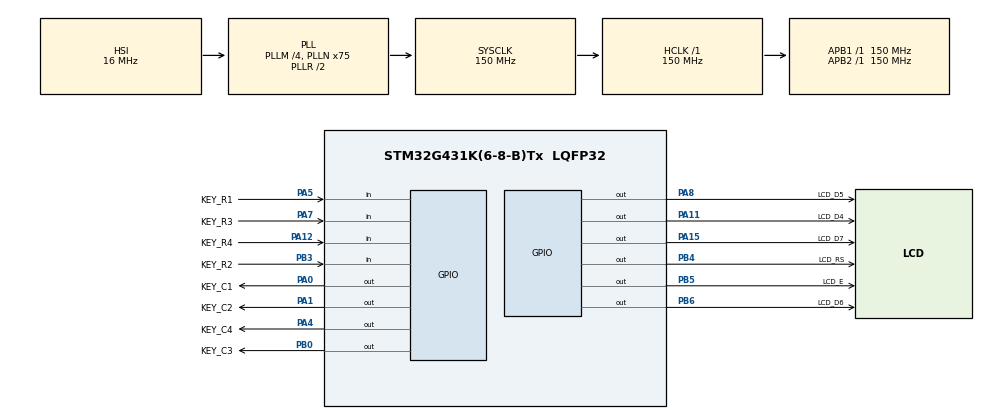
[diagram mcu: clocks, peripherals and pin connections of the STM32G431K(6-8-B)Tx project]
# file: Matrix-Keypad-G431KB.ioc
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Mcu.Family=STM32G4
Mcu.Name=STM32G431K(6-8-B)Tx
Mcu.Package=LQFP32
NVIC.PriorityGroup=NVIC_PRIORITYGROUP_4
NVIC.TIM2_IRQn=true\:0\:0\:false\:false\:true\:true\:true\:true
PA0.GPIO_Label=KEY_C1
PA0.GPIO_ModeDefaultOutputPP=GPIO_MODE_OUTPUT_OD
PA0.GPIO_PuPd=GPIO_NOPULL
PA0.GPIO_Speed=GPIO_SPEED_FREQ_VERY_HIGH
PA0.PinState=GPIO_PIN_SET
PA0.Signal=GPIO_Output
PA1.GPIO_Label=KEY_C2
PA1.GPIO_ModeDefaultOutputPP=GPIO_MODE_OUTPUT_OD
PA1.GPIO_PuPd=GPIO_NOPULL
PA1.GPIO_Speed=GPIO_SPEED_FREQ_VERY_HIGH
PA1.PinState=GPIO_PIN_SET
PA1.Signal=GPIO_Output
PA11.GPIO_Label=LCD_D4
PA11.GPIO_Speed=GPIO_SPEED_FREQ_VERY_HIGH
PA11.Signal=GPIO_Output
PA12.GPIO_Label=KEY_R4
PA12.GPIO_PuPd=GPIO_PULLUP
PA12.Signal=GPIO_Input
PA13.Mode=Serial_Wire
PA13.Signal=SYS_JTMS-SWDIO
PA14.Mode=Serial_Wire
PA14.Signal=SYS_JTCK-SWCLK
PA15.GPIO_Label=LCD_D7
PA15.GPIO_Speed=GPIO_SPEED_FREQ_VERY_HIGH
PA15.Signal=GPIO_Output
PA4.GPIO_Label=KEY_C4
PA4.GPIO_ModeDefaultOutputPP=GPIO_MODE_OUTPUT_OD
PA4.GPIO_PuPd=GPIO_NOPULL
PA4.GPIO_Speed=GPIO_SPEED_FREQ_VERY_HIGH
PA4.PinState=GPIO_PIN_SET
PA4.Signal=GPIO_Output
PA5.GPIO_Label=KEY_R1
PA5.GPIO_Mode=GPIO_MODE_INPUT
PA5.GPIO_PuPd=GPIO_PULLUP
PA5.Signal=GPIO_Input
PA7.GPIO_Label=KEY_R3
PA7.GPIO_Mode=GPIO_MODE_INPUT
PA7.GPIO_PuPd=GPIO_PULLUP
PA7.Signal=GPIO_Input
PA8.GPIO_Label=LCD_D5
PA8.GPIO_Speed=GPIO_SPEED_FREQ_VERY_HIGH
PA8.Signal=GPIO_Output
PB0.GPIO_Label=KEY_C3
PB0.GPIO_ModeDefaultOutputPP=GPIO_MODE_OUTPUT_OD
PB0.GPIO_PuPd=GPIO_NOPULL
PB0.GPIO_Speed=GPIO_SPEED_FREQ_VERY_HIGH
PB0.PinState=GPIO_PIN_SET
PB0.Signal=GPIO_Output
PB3.GPIO_Label=KEY_R2
PB3.GPIO_PuPd=GPIO_PULLUP
PB3.Signal=GPIO_Input
PB4.GPIO_Label=LCD_RS
PB4.GPIO_Speed=GPIO_SPEED_FREQ_VERY_HIGH
PB4.Signal=GPIO_Output
PB5.GPIO_Label=LCD_E
PB5.GPIO_Speed=GPIO_SPEED_FREQ_VERY_HIGH
PB5.Signal=GPIO_Output
PB6.GPIO_Label=LCD_D6
PB6.GPIO_Speed=GPIO_SPEED_FREQ_VERY_HIGH
PB6.Signal=GPIO_Output
ProjectManager.HeapSize=0x200
ProjectManager.StackSize=0x400
ProjectManager.TargetToolchain=STM32CubeIDE
RCC.ADC12Freq_Value=150000000
RCC.AHBFreq_Value=150000000
RCC.APB1Freq_Value=150000000
RCC.APB1TimFreq_Value=150000000
RCC.APB2Freq_Value=150000000
RCC.APB2TimFreq_Value=150000000
RCC.CortexFreq_Value=150000000
RCC.EXTERNAL_CLOCK_VALUE=12288000
RCC.HCLKFreq_Value=150000000
RCC.HSE_VALUE=8000000
RCC.HSI48_VALUE=48000000
RCC.HSI_VALUE=16000000
RCC.LSE_VALUE=32768
RCC.PLLM=RCC_PLLM_DIV4
RCC.PLLN=75
RCC.SYSCLKFreq_VALUE=150000000
RCC.SYSCLKSource=RCC_SYSCLKSOURCE_PLLCLK
RCC.USBFreq_Value=150000000
RCC.VCOOutputFreq_Value=300000000
TIM2.CounterMode=TIM_COUNTERMODE_UP
TIM2.PeriodNoDither=9999
TIM2.Prescaler=149
VP_TIM2_VS_ClockSourceINT.Mode=Internal
board=custom

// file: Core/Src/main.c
/* USER CODE BEGIN Header */
/**
 ******************************************************************************
 * @file           : main.c
 * @brief          : Main program body
 ******************************************************************************
 * @attention
 *
 * Copyright (c) 2024 STMicroelectronics.
 * All rights reserved.
 *
 * This software is licensed under terms that can be found in the LICENSE file
 * in the root directory of this software component.
 * If no LICENSE file comes with this software, it is provided AS-IS.
 *
 ******************************************************************************
 */
/* USER CODE END Header */
#include "main.h"

/* USER CODE BEGIN Includes */
#include <stdio.h>

#include "matrix_keyboard.h"
#include "lcdDisplay.h"
/* USER CODE END Includes */

TIM_HandleTypeDef htim2;

/* USER CODE BEGIN PV */

static mk_gpio_t mkColumns[] = {
		{
				.GPIO = (uint32_t)KEY_C1_GPIO_Port,
				.pin = (uint32_t)KEY_C1_Pin
		},
		{
				.GPIO = (uint32_t)KEY_C2_GPIO_Port,
				.pin = (uint32_t)KEY_C2_Pin
		},
		{
				.GPIO = (uint32_t)KEY_C3_GPIO_Port,
				.pin = (uint32_t)KEY_C3_Pin
		},
		{
				.GPIO = (uint32_t)KEY_C4_GPIO_Port,
				.pin = (uint32_t)KEY_C4_Pin
		}
};
static mk_gpio_t mkRows[] = {
		{
				.GPIO = (uint32_t)KEY_R1_GPIO_Port,
				.pin = (uint32_t)KEY_R1_Pin
		},
		{
				.GPIO = (uint32_t)KEY_R2_GPIO_Port,
				.pin = (uint32_t)KEY_R2_Pin
		},
		{
				.GPIO = (uint32_t)KEY_R3_GPIO_Port,
				.pin = (uint32_t)KEY_R3_Pin
		},
		{
				.GPIO = (uint32_t)KEY_R4_GPIO_Port,
				.pin = (uint32_t)KEY_R4_Pin
		}
};

mk_t Key4x4;
lcd_t Lcd;

uint32_t PCol, PRow;
uint8_t KeyFlag = 0;

static char* BtnMap[4][4] = {{"1", "2", "3", "A"},
							 {"4", "5", "6", "B"},
							 {"7", "8", "9", "C"},
							 {"*", "0", "#", "D"}};
/* USER CODE END PV */

void SystemClock_Config(void);
static void MX_GPIO_Init(void);
static void MX_TIM2_Init(void);

/* USER CODE BEGIN 0 */

// In this example, the Timer 4 was configured to trigger the interrupt
// every 10 ms
void HAL_TIM_PeriodElapsedCallback(TIM_HandleTypeDef *htim){
	if (htim->Instance == TIM2){
		mk_DoOperation(&Key4x4, NULL);
	}
}

// The callback of API
void mk_callback(mk_t *Mk, mk_event_e ev, uint32_t PressedCol, uint32_t PressedRow){
	if (ev == MK_EVENT_PRESSED){
		// load the PressedCol and PressedRow on you global variables and
		// inform the main that a PRESSED event was occoured
		PCol = PressedCol;
		PRow = PressedRow;
	}
	else if (ev == MK_EVENT_RELEASED){
		// inform the main that the key was released
		PCol = 0;
		PRow = 0;
	}
	KeyFlag = 1;
}

/*
 * Initialize Modules
 */

void __init_keypad(){
	Key4x4.actLevel = MK_ACTIVE_LEVEL_LOW;
	Key4x4.eventMask = MK_EVENT_ALL;
	Key4x4.nCols = 4;
	Key4x4.nRows = 4;
	Key4x4.gCols = mkColumns;
	Key4x4.gRows = mkRows;

	if (mk_init(&Key4x4) != MK_STATUS_OK){
		Error_Handler();
	}

}

void __init_display(){
	Lcd.columns = 16;
	Lcd.rows = 2;
	Lcd.font = LCD_FONT_5X8;
	Lcd.interface = LCD_INTERFACE_4BIT;
	Lcd.gpios[LCD_RS].GPIO = (uint32_t)LCD_RS_GPIO_Port;
	Lcd.gpios[LCD_RS].pin = LCD_RS_Pin;
	Lcd.gpios[LCD_E].GPIO = (uint32_t)LCD_E_GPIO_Port;
	Lcd.gpios[LCD_E].pin = LCD_E_Pin;
	Lcd.gpios[LCD_D4].GPIO = (uint32_t)LCD_D4_GPIO_Port;
	Lcd.gpios[LCD_D4].pin = LCD_D4_Pin;
	Lcd.gpios[LCD_D5].GPIO = (uint32_t)LCD_D5_GPIO_Port;
	Lcd.gpios[LCD_D5].pin = LCD_D5_Pin;
	Lcd.gpios[LCD_D6].GPIO = (uint32_t)LCD_D6_GPIO_Port;
	Lcd.gpios[LCD_D6].pin = LCD_D6_Pin;
	Lcd.gpios[LCD_D7].GPIO = (uint32_t)LCD_D7_GPIO_Port;
	Lcd.gpios[LCD_D7].pin = LCD_D7_Pin;

	lcd_init(&Lcd);

	lcd_clear_all(&Lcd);

	lcd_send_string_pos(&Lcd, "Lin 00 | Col 00", 0, 0);
	lcd_send_string_pos(&Lcd, "Button: N/A", 1, 0);
}

/* USER CODE END 0 */

int main(void)
{
	/* USER CODE BEGIN 1 */
	char tButtonPos[20], tButtonName[20];
	/* USER CODE END 1 */

	/* MCU Configuration--------------------------------------------------------*/

	/* Reset of all peripherals, Initializes the Flash interface and the Systick. */
	HAL_Init();

	/* Configure the system clock */
	SystemClock_Config();

	/* Initialize all configured peripherals */
	MX_GPIO_Init();
	MX_TIM2_Init();
	/* USER CODE BEGIN 2 */
	__init_keypad();
	__init_display();
	HAL_TIM_Base_Start_IT(&htim2);
	/* USER CODE END 2 */

	/* Infinite loop */
	/* USER CODE BEGIN WHILE */
	while (1)
	{
		if (KeyFlag == 1){
			KeyFlag = 0;
			sprintf(tButtonPos, "Lin %02lu | Col %02lu", PRow, PCol);
			if (PRow > 0 && PCol > 0){
				sprintf(tButtonName, "Button: %s  ", BtnMap[PRow-1][PCol-1]);
			}
			else{
				sprintf(tButtonName, "Button: N/A");
			}
			lcd_send_string_pos(&Lcd, tButtonPos, 0, 0);
			lcd_send_string_pos(&Lcd, tButtonName, 1, 0);
		}
		/* USER CODE END WHILE */

	}
}

void SystemClock_Config(void)
{
	RCC_OscInitTypeDef RCC_OscInitStruct = {0};
	RCC_ClkInitTypeDef RCC_ClkInitStruct = {0};

	/** Configure the main internal regulator output voltage
	 */
	HAL_PWREx_ControlVoltageScaling(PWR_REGULATOR_VOLTAGE_SCALE1);

	/** Initializes the RCC Oscillators according to the specified parameters
	 * in the RCC_OscInitTypeDef structure.
	 */
	RCC_OscInitStruct.OscillatorType = RCC_OSCILLATORTYPE_HSI;
	RCC_OscInitStruct.HSIState = RCC_HSI_ON;
	RCC_OscInitStruct.HSICalibrationValue = RCC_HSICALIBRATION_DEFAULT;
	RCC_OscInitStruct.PLL.PLLState = RCC_PLL_ON;
	RCC_OscInitStruct.PLL.PLLSource = RCC_PLLSOURCE_HSI;
	RCC_OscInitStruct.PLL.PLLM = RCC_PLLM_DIV4;
	RCC_OscInitStruct.PLL.PLLN = 75;
	RCC_OscInitStruct.PLL.PLLP = RCC_PLLP_DIV2;
	RCC_OscInitStruct.PLL.PLLQ = RCC_PLLQ_DIV2;
	RCC_OscInitStruct.PLL.PLLR = RCC_PLLR_DIV2;
	if (HAL_RCC_OscConfig(&RCC_OscInitStruct) != HAL_OK)
	{
		Error_Handler();
	}

	/** Initializes the CPU, AHB and APB buses clocks
	 */
	RCC_ClkInitStruct.ClockType = RCC_CLOCKTYPE_HCLK|RCC_CLOCKTYPE_SYSCLK
			|RCC_CLOCKTYPE_PCLK1|RCC_CLOCKTYPE_PCLK2;
	RCC_ClkInitStruct.SYSCLKSource = RCC_SYSCLKSOURCE_PLLCLK;
	RCC_ClkInitStruct.AHBCLKDivider = RCC_SYSCLK_DIV1;
	RCC_ClkInitStruct.APB1CLKDivider = RCC_HCLK_DIV1;
	RCC_ClkInitStruct.APB2CLKDivider = RCC_HCLK_DIV1;

	if (HAL_RCC_ClockConfig(&RCC_ClkInitStruct, FLASH_LATENCY_4) != HAL_OK)
	{
		Error_Handler();
	}
}

static void MX_TIM2_Init(void)
{

	TIM_ClockConfigTypeDef sClockSourceConfig = {0};
	TIM_MasterConfigTypeDef sMasterConfig = {0};

	htim2.Instance = TIM2;
	htim2.Init.Prescaler = 149;
	htim2.Init.CounterMode = TIM_COUNTERMODE_UP;
	htim2.Init.Period = 9999;
	htim2.Init.ClockDivision = TIM_CLOCKDIVISION_DIV1;
	htim2.Init.AutoReloadPreload = TIM_AUTORELOAD_PRELOAD_DISABLE;
	if (HAL_TIM_Base_Init(&htim2) != HAL_OK)
	{
		Error_Handler();
	}
	sClockSourceConfig.ClockSource = TIM_CLOCKSOURCE_INTERNAL;
	if (HAL_TIM_ConfigClockSource(&htim2, &sClockSourceConfig) != HAL_OK)
	{
		Error_Handler();
	}
	sMasterConfig.MasterOutputTrigger = TIM_TRGO_RESET;
	sMasterConfig.MasterSlaveMode = TIM_MASTERSLAVEMODE_DISABLE;
	if (HAL_TIMEx_MasterConfigSynchronization(&htim2, &sMasterConfig) != HAL_OK)
	{
		Error_Handler();
	}

}

static void MX_GPIO_Init(void)
{
	GPIO_InitTypeDef GPIO_InitStruct = {0};

	/* GPIO Ports Clock Enable */
	__HAL_RCC_GPIOA_CLK_ENABLE();
	__HAL_RCC_GPIOB_CLK_ENABLE();

	/*Configure GPIO pin Output Level */
	HAL_GPIO_WritePin(GPIOA, KEY_C1_Pin|KEY_C2_Pin|KEY_C4_Pin, GPIO_PIN_SET);

	/*Configure GPIO pin Output Level */
	HAL_GPIO_WritePin(KEY_C3_GPIO_Port, KEY_C3_Pin, GPIO_PIN_SET);

	/*Configure GPIO pin Output Level */
	HAL_GPIO_WritePin(GPIOA, LCD_D5_Pin|LCD_D4_Pin|LCD_D7_Pin, GPIO_PIN_RESET);

	/*Configure GPIO pin Output Level */
	HAL_GPIO_WritePin(GPIOB, LCD_RS_Pin|LCD_E_Pin|LCD_D6_Pin, GPIO_PIN_RESET);

	/*Configure GPIO pins : KEY_C1_Pin KEY_C2_Pin KEY_C4_Pin */
	GPIO_InitStruct.Pin = KEY_C1_Pin|KEY_C2_Pin|KEY_C4_Pin;
	GPIO_InitStruct.Mode = GPIO_MODE_OUTPUT_OD;
	GPIO_InitStruct.Pull = GPIO_NOPULL;
	GPIO_InitStruct.Speed = GPIO_SPEED_FREQ_VERY_HIGH;
	HAL_GPIO_Init(GPIOA, &GPIO_InitStruct);

	/*Configure GPIO pins : KEY_R1_Pin KEY_R3_Pin KEY_R4_Pin */
	GPIO_InitStruct.Pin = KEY_R1_Pin|KEY_R3_Pin|KEY_R4_Pin;
	GPIO_InitStruct.Mode = GPIO_MODE_INPUT;
	GPIO_InitStruct.Pull = GPIO_PULLUP;
	HAL_GPIO_Init(GPIOA, &GPIO_InitStruct);

	/*Configure GPIO pin : KEY_C3_Pin */
	GPIO_InitStruct.Pin = KEY_C3_Pin;
	GPIO_InitStruct.Mode = GPIO_MODE_OUTPUT_OD;
	GPIO_InitStruct.Pull = GPIO_NOPULL;
	GPIO_InitStruct.Speed = GPIO_SPEED_FREQ_VERY_HIGH;
	HAL_GPIO_Init(KEY_C3_GPIO_Port, &GPIO_InitStruct);

	/*Configure GPIO pins : LCD_D5_Pin LCD_D4_Pin LCD_D7_Pin */
	GPIO_InitStruct.Pin = LCD_D5_Pin|LCD_D4_Pin|LCD_D7_Pin;
	GPIO_InitStruct.Mode = GPIO_MODE_OUTPUT_PP;
	GPIO_InitStruct.Pull = GPIO_NOPULL;
	GPIO_InitStruct.Speed = GPIO_SPEED_FREQ_VERY_HIGH;
	HAL_GPIO_Init(GPIOA, &GPIO_InitStruct);

	/*Configure GPIO pin : KEY_R2_Pin */
	GPIO_InitStruct.Pin = KEY_R2_Pin;
	GPIO_InitStruct.Mode = GPIO_MODE_INPUT;
	GPIO_InitStruct.Pull = GPIO_PULLUP;
	HAL_GPIO_Init(KEY_R2_GPIO_Port, &GPIO_InitStruct);

	/*Configure GPIO pins : LCD_RS_Pin LCD_E_Pin LCD_D6_Pin */
	GPIO_InitStruct.Pin = LCD_RS_Pin|LCD_E_Pin|LCD_D6_Pin;
	GPIO_InitStruct.Mode = GPIO_MODE_OUTPUT_PP;
	GPIO_InitStruct.Pull = GPIO_NOPULL;
	GPIO_InitStruct.Speed = GPIO_SPEED_FREQ_VERY_HIGH;
	HAL_GPIO_Init(GPIOB, &GPIO_InitStruct);

}

void Error_Handler(void)
{
	__disable_irq();
	while (1)
	{
	}
}
